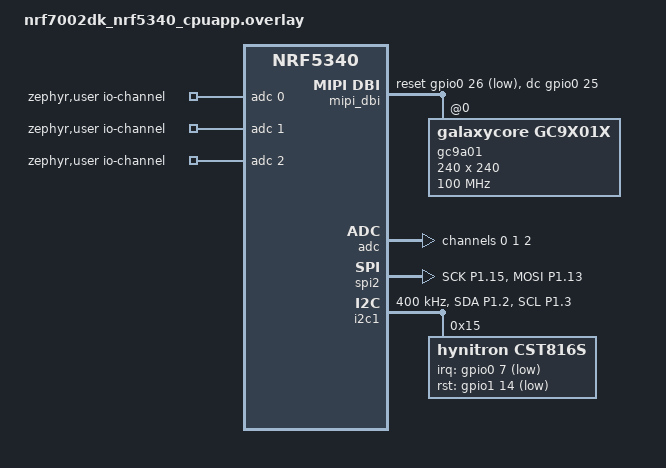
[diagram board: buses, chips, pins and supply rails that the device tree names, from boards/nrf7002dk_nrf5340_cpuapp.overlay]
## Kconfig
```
#
# Copyright (c) 2022 Nordic Semiconductor ASA
#
# SPDX-License-Identifier: LicenseRef-Nordic-5-Clause
#

menu "ADC sensor over WiFi"

config MQTT_SAMPLE_PUB_TOPIC
	string "MQTT publish topic"

config MQTT_SAMPLE_SUB_TOPIC
	string "MQTT subscribe topic"

config MQTT_SAMPLE_BROKER_HOSTNAME
	string "MQTT broker hostname"
	default "mqtt.nordicsemi.academy"
	help
	  Hostname of the MQTT broker to connect to.
	  When TLS is enabled (CONFIG_MQTT_LIB_TLS=y), ensure the broker
	  supports secure connections on port 8883.

config SEQUENCE_SAMPLES
	int "Number of samples to be made on the sequence for each channel."
	default 5

config SEQUENCE_RESOLUTION
	int "Set the resolution of the sequence readings."
	default 12

config RESET_COUNTER_SW0
	bool "Reset counter when sw0 is pressed"
	depends on $(dt_alias_enabled,sw0)
	select GPIO
	default y

endmenu

source "Kconfig.zephyr"
```

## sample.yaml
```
sample:
  description: Očitavanje ADC signala s akcelerometra i slanje preko MQTT protokola na server
  name: ADC sensor over WiFi

common:
  sysbuild: true
  build_only: true
  skip: true
  integration_platforms:
    - nrf7002dk/nrf5340/cpuapp
  platform_exclude:
    - native_sim

tests:
  wifi_fund.l4.e1.nrf5340dk:
    extra_args: SHIELD=nrf7002ek
    integration_platforms:
      - nrf5340dk/nrf5340/cpuapp/ns

  wifi_fund.l4.e1.nrf7002dk:
    integration_platforms:
      - nrf7002dk/nrf5340/cpuapp/ns
```

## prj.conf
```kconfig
# Wi-Fi
CONFIG_WIFI=y
CONFIG_WIFI_NM_WPA_SUPPLICANT=y
CONFIG_NRF70_RX_NUM_BUFS=16
CONFIG_NRF70_MAX_TX_AGGREGATION=4

# Wi-Fi credentials
CONFIG_WIFI_CREDENTIALS=y
CONFIG_WIFI_CREDENTIALS_STATIC=y
CONFIG_WIFI_CREDENTIALS_STATIC_SSID="Pickra"
CONFIG_WIFI_CREDENTIALS_STATIC_PASSWORD="12345678"

# Networking Management API
CONFIG_NET_MGMT=y
CONFIG_NET_MGMT_EVENT=y
CONFIG_NET_MGMT_EVENT_INFO=y
CONFIG_NET_CONNECTION_MANAGER=y
CONFIG_NET_CONNECTION_MANAGER_MONITOR_STACK_SIZE=5200
CONFIG_L2_WIFI_CONNECTIVITY=y

# Logging
CONFIG_LOG=y
CONFIG_LOG_MODE_IMMEDIATE=y
CONFIG_LOG_DEFAULT_LEVEL=3

# DK Button and LED library
CONFIG_DK_LIBRARY=y

# System settings
CONFIG_NEWLIB_LIBC=y
CONFIG_NEWLIB_LIBC_NANO=n

# Networking
CONFIG_NETWORKING=y
CONFIG_NET_SOCKETS=y
CONFIG_NET_IPV4=y
CONFIG_NET_TCP=y
CONFIG_NET_DHCPV4=y
CONFIG_DNS_RESOLVER=y
CONFIG_NRF_WIFI_RPU_RECOVERY=n

# Enable and configure the MQTT library
CONFIG_MQTT_HELPER=y
CONFIG_MQTT_CLEAN_SESSION=n
CONFIG_MQTT_KEEPALIVE=360

# TLS/SSL Configuration for MQTT
CONFIG_MQTT_LIB_TLS=y
CONFIG_MQTT_HELPER_SEC_TAG=1

# MBedTLS Configuration
CONFIG_MBEDTLS=y
CONFIG_MBEDTLS_ENABLE_HEAP=y
CONFIG_MBEDTLS_HEAP_SIZE=65536
CONFIG_MBEDTLS_SSL_MAX_CONTENT_LEN=4096
CONFIG_MBEDTLS_PEM_CERTIFICATE_FORMAT=y
CONFIG_MBEDTLS_KEY_EXCHANGE_RSA_ENABLED=y
CONFIG_MBEDTLS_KEY_EXCHANGE_ECDHE_RSA_ENABLED=y

# TLS Socket Configuration
CONFIG_NET_SOCKETS_SOCKOPT_TLS=y
CONFIG_NET_SOCKETS_TLS_MAX_CONTEXTS=2
CONFIG_NET_SOCKETS_TLS_MAX_CIPHERSUITES=16

# TLS Credentials
CONFIG_TLS_CREDENTIALS=y
CONFIG_TLS_CREDENTIAL_FILENAMES=y

# MQTT TLS Port (8883 for secure MQTT)
CONFIG_MQTT_HELPER_PORT=8883

# MQTT topics
CONFIG_MQTT_SAMPLE_PUB_TOPIC="wifi/fund/board/publish/button/topic99"
CONFIG_MQTT_SAMPLE_SUB_TOPIC="wifi/fund/board/subscribe/led/topic99"

# Enable the ADC API and driver
CONFIG_ADC=y

# Floating point support for printf
CONFIG_CBPRINTF_FP_SUPPORT=y

# LVGL + Display
CONFIG_DISPLAY=y
CONFIG_DISPLAY_LOG_LEVEL_ERR=y
CONFIG_SHELL=y
CONFIG_LV_Z_MEM_POOL_SIZE=65536
CONFIG_LV_Z_SHELL=y
CONFIG_LV_Z_VDB_SIZE=8
CONFIG_MAIN_STACK_SIZE=4096
CONFIG_LVGL=y
CONFIG_LV_USE_LOG=y
CONFIG_LV_USE_LABEL=y
CONFIG_LV_USE_BUTTON=y
CONFIG_LV_USE_MONKEY=y
CONFIG_LV_FONT_MONTSERRAT_12=y
CONFIG_LV_FONT_MONTSERRAT_14=y
CONFIG_LV_FONT_MONTSERRAT_16=y
CONFIG_LV_FONT_MONTSERRAT_18=y
CONFIG_LV_USE_FLOAT=y
CONFIG_LV_USE_GESTURE_RECOGNITION=y
CONFIG_LV_USE_SPINBOX=y
CONFIG_LV_USE_SLIDER=y
CONFIG_LV_USE_FLEX=y

# Input for Touch Display (CST816D Driver)
CONFIG_INPUT=y
CONFIG_INPUT_CST816S=y
CONFIG_INPUT_CST816S_INTERRUPT=y
CONFIG_LV_Z_POINTER_INPUT=y
CONFIG_LV_Z_POINTER_INPUT_MSGQ_COUNT=8

# Peripherals
CONFIG_I2C=y
CONFIG_SPI=y
CONFIG_INPUT_LOG_LEVEL_DBG=y
CONFIG_SYSTEM_WORKQUEUE_STACK_SIZE=2048
CONFIG_INPUT_THREAD_STACK_SIZE=1024
CONFIG_INPUT_THREAD_PRIORITY_OVERRIDE=y
CONFIG_INPUT_THREAD_PRIORITY=10
```

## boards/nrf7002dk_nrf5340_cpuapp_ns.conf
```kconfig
# UART1 is used for TF-M logging should be disabled
CONFIG_TFM_SECURE_UART=n
CONFIG_TFM_LOG_LEVEL_SILENCE=y
CONFIG_WIFI_CREDENTIALS_BACKEND_SETTINGS=y
CONFIG_WIFI_CREDENTIALS_BACKEND_PSA=y
CONFIG_TFM_PROFILE_TYPE_MEDIUM=y
CONFIG_PM_PARTITION_SIZE_TFM_SRAM=0x18000
```

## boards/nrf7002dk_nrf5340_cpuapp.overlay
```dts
#include <zephyr/dt-bindings/display/panel.h>
#include <zephyr/dt-bindings/input/input-event-codes.h>
#include <zephyr/dt-bindings/lvgl/lvgl.h>

/ {
    zephyr,user {
        io-channels = <&adc 0>, <&adc 1>, <&adc 2>;
    };

    chosen {
        zephyr,display = &gc9a01;
        zephyr,pointer = &cst816s;
        zephyr,input-device = &cst816s;
    };

    lvgl_pointer_input: lvgl_pointer {
        compatible = "zephyr,lvgl-pointer-input";
        status = "okay";
        input = <&cst816s>;
    };

    aliases {
        input = &cst816s;
    };

    mipi_dbi {
        compatible = "zephyr,mipi-dbi-spi";
        dc-gpios = <&gpio0 25 GPIO_ACTIVE_HIGH>;
        reset-gpios = <&gpio0 26  GPIO_ACTIVE_LOW>;
        spi-dev = <&spi2>;
        #address-cells = <1>;
        #size-cells = <0>;

        gc9a01: gc9a01@0 {
            status = "okay";
            compatible = "galaxycore,gc9x01x";
            reg = <0>;
            mipi-max-frequency = <100000000>;
            pixel-format = <PANEL_PIXEL_FORMAT_RGB_888>;
            height = <240>;
            width = <240>;
            display-inversion;
        };
    };
};

&adc {
    #address-cells = <1>;
    #size-cells = <0>;
    status = "okay";

    channel@0 {
        reg = <0>;
        zephyr,gain = "ADC_GAIN_1_6";
        zephyr,reference = "ADC_REF_INTERNAL";
        zephyr,acquisition-time = <ADC_ACQ_TIME_DEFAULT>;
        zephyr,input-positive = <NRF_SAADC_AIN0>; /* P0.04 for nRF53xx */
        zephyr,resolution = <12>;
    };
    channel@1 {
        reg = <1>;
        zephyr,gain = "ADC_GAIN_1_6";
        zephyr,reference = "ADC_REF_INTERNAL";
        zephyr,acquisition-time = <ADC_ACQ_TIME_DEFAULT>;
        zephyr,input-positive = <NRF_SAADC_AIN1>; /* P0.05 for nRF53xx */
        zephyr,resolution = <12>;
    };
    channel@2 {
        reg = <2>;
        zephyr,gain = "ADC_GAIN_1_6";
        zephyr,reference = "ADC_REF_INTERNAL";
        zephyr,acquisition-time = <ADC_ACQ_TIME_DEFAULT>;
        zephyr,input-positive = <NRF_SAADC_AIN2>; /* P0.06 for nRF53xx */
        zephyr,resolution = <12>;
    };
};

&spi2 {
    status = "okay";
    pinctrl-0 = <&spi2_default>;
    pinctrl-1 = <&spi2_sleep>;
    pinctrl-names = "default", "sleep";
};

&i2c1 {
    compatible = "nordic,nrf-twim";
    status = "okay";
    clock-frequency = <I2C_BITRATE_FAST>;
    pinctrl-0 = <&i2c1_default>;
    pinctrl-1 = <&i2c1_sleep>;
    pinctrl-names = "default", "sleep";

    cst816s: cst816s@15 {
        compatible = "hynitron,cst816s";
        status = "okay";
        reg = <0x15>;
        irq-gpios = <&gpio0 7 GPIO_ACTIVE_LOW>;
        rst-gpios = <&gpio1 14 GPIO_ACTIVE_LOW>;
    };
};

&pinctrl {
    spi2_default: spi2_default {
        group1 {
            psels = <NRF_PSEL(SPIM_SCK, 1, 15)>, // SCL
            <NRF_PSEL(SPIM_MOSI, 1, 13)>; // SDA
        };
    };

    spi2_sleep: spi2_sleep {
        group1 {
            psels = <NRF_PSEL(SPIM_SCK, 1, 15)>,
                    <NRF_PSEL(SPIM_MOSI, 1, 13)>;
            low-power-enable;
        };
    };

    i2c1_default: i2c1_default {
        group1 {
            psels = <NRF_PSEL(TWIM_SDA, 1, 2)>,
                    <NRF_PSEL(TWIM_SCL, 1, 3)>;
        };
    };

    i2c1_sleep: i2c1_sleep {
        group1 {
            psels = <NRF_PSEL(TWIM_SDA, 1, 2)>,
                    <NRF_PSEL(TWIM_SCL, 1, 3)>;
            low-power-enable;
        };
    };
};
```

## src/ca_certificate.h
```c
/*
 * CA Certificate for TLS connection to MQTT broker
 *
 * This file contains the ISRG Root X1 certificate (Let's Encrypt Root CA)
 * which is commonly used by many MQTT brokers including mqtt.nordicsemi.academy.
 *
 * If your broker uses a different CA, replace this certificate with the
 * appropriate root CA certificate in PEM format.
 *
 * To get the correct certificate for your broker:
 * 1. Run: openssl s_client -connect mqtt.nordicsemi.academy:8883 -showcerts
 * 2. Copy the root CA certificate (last one in the chain)
 * 3. Replace the certificate below
 */

#ifndef CA_CERTIFICATE_H
#define CA_CERTIFICATE_H

/* Security tag for TLS credentials - must match CONFIG_MQTT_HELPER_SEC_TAG */
#define TLS_SEC_TAG 1

/* ISRG Root X1 - Let's Encrypt Root CA Certificate
 * Valid until: June 4, 2035
 * This is used by many services including Nordic Semiconductor
 */
static const char ca_certificate[] =
	"-----BEGIN CERTIFICATE-----\n"
	"MIIFazCCA1OgAwIBAgIRAIIQz7DSQONZRGPgu2OCiwAwDQYJKoZIhvcNAQELBQAw\n"
	"TzELMAkGA1UEBhMCVVMxKTAnBgNVBAoTIEludGVybmV0IFNlY3VyaXR5IFJlc2Vh\n"
	"cmNoIEdyb3VwMRUwEwYDVQQDEwxJU1JHIFJvb3QgWDEwHhcNMTUwNjA0MTEwNDM4\n"
	"WhcNMzUwNjA0MTEwNDM4WjBPMQswCQYDVQQGEwJVUzEpMCcGA1UEChMgSW50ZXJu\n"
	"ZXQgU2VjdXJpdHkgUmVzZWFyY2ggR3JvdXAxFTATBgNVBAMTDElTUkcgUm9vdCBY\n"
	"MTCCAiIwDQYJKoZIhvcNAQEBBQADggIPADCCAgoCggIBAK3oJHP0FDfzm54rVygc\n"
	"h77ct984kIxuPOZXoHj3dcKi/vVqbvYATyjb3miGbESTtrFj/RQSa78f0uoxmyF+\n"
	"0TM8ukj13Xnfs7j/EvEhmkvBioZxaUpmZmyPfjxwv60pIgbz5MDmgK7iS4+3mX6U\n"
	"A5/TR5d8mUgjU+g4rk8Kb4Mu0UlXjIB0ttov0DiNewNwIRt18jA8+o+u3dpjq+sW\n"
	"T8KOEUt+zwvo/7V3LvSye0rgTBIlDHCNAymg4VMk7BPZ7hm/ELNKjD+Jo2FR3qyH\n"
	"B5T0Y3HsLuJvW5iB4YlcNHlsdu87kGJ55tukmi8mxdAQ4Q7e2RCOFvu396j3x+UC\n"
	"B5iPNgiV5+I3lg02dZ77DnKxHZu8A/lJBdiB3QW0KtZB6awBdpUKD9jf1b0SHzUv\n"
	"KBds0pjBqAlkd25HN7rOrFleaJ1/ctaJxQZBKT5ZPt0m9STJEadao0xAH0ahmbWn\n"
	"OlFuhjuefXKnEgV4We0+UXgVCwOPjdAvBbI+e0ocS3MFEvzG6uBQE3xDk3SzynTn\n"
	"jh8BCNAw1FtxNrQHusEwMFxIt4I7mKZ9YIqioymCzLq9gwQbooMDQaHWBfEbwrbw\n"
	"qHyGO0aoSCqI3Haadr8faqU9GY/rOPNk3sgrDQoo//fb4hVC1CLQJ13hef4Y53CI\n"
	"rU7m2Ys6xt0nUW7/vGT1M0NPAgMBAAGjQjBAMA4GA1UdDwEB/wQEAwIBBjAPBgNV\n"
	"HRMBAf8EBTADAQH/MB0GA1UdDgQWBBR5tFnme7bl5AFzgAiIyBpY9umbbjANBgkq\n"
	"hkiG9w0BAQsFAAOCAgEAVR9YqbyyqFDQDLHYGmkgJykIrGF1XIpu+ILlaS/V9lZL\n"
	"ubhzEFnTIZd+50xx+7LSYK05qAvqFyFWhfFQDlnrzuBZ6brJFe+GnY+EgPbk6ZGQ\n"
	"3BebYhtF8GaV0nxvwuo77x/Py9auJ/GpsMiu/X1+mvoiBOv/2X/qkSsisRcOj/KK\n"
	"NFtY2PwByVS5uCbMiogziUwthDyC3+6WVwW6LLv3xLfHTjuCvjHIInNzktHCgKQ5\n"
	"ORAzI4JMPJ+GslWYHb4phowim57iaztXOoJwTdwJx4nLCgdNbOhdjsnvzqvHu7Ur\n"
	"TkXWStAmzOVyyghqpZXjFaH3pO3JLF+l+/+sKAIuvtd7u+Nxe5AW0wdeRlN8NwdC\n"
	"jNPElpzVmbUq4JUagEiuTDkHzsxHpFKVK7q4+63SM1N95R1NbdWhscdCb+ZAJzVc\n"
	"oyi3B43njTOQ5yOf+1CceWxG1bQVs5ZufpsMljq4Ui0/1lvh+wjChP4kqKOJ2qxq\n"
	"4RgqsahDYVvTH9w7jXbyLeiNdd8XM2w9U/t7y0Ff/9yi0GE44Za4rF2LN9d11TPA\n"
	"mRGunUHBcnWEvgJBQl9nJEiU0Zsnvgc/ubhPgXRR4Xq37Z0j4r7g1SgEEzwxA57d\n"
	"emyPxgcYxn/eR44/KJ4EBs+lVDR3veyJm+kXQ99b21/+jh5Xos1AnX5iItreGCc=\n"
	"-----END CERTIFICATE-----\n";

#endif /* CA_CERTIFICATE_H */
```
